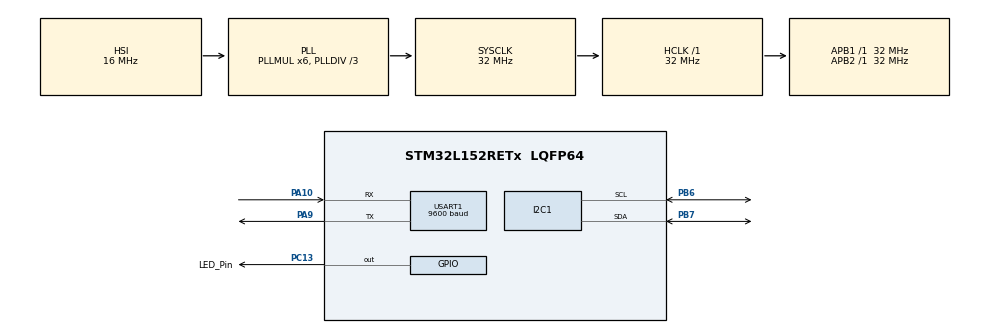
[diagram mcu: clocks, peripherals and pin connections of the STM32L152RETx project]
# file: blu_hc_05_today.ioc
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Mcu.Family=STM32L1
Mcu.Name=STM32L152RETx
Mcu.Package=LQFP64
NVIC.PriorityGroup=NVIC_PRIORITYGROUP_0
NVIC.TIM2_IRQn=true\:0\:0\:false\:false\:true\:true\:true
NVIC.USART1_IRQn=true\:0\:0\:false\:false\:true\:true\:true
PA10.GPIO_PuPd=GPIO_PULLUP
PA10.Mode=Asynchronous
PA10.Signal=USART1_RX
PA13.Mode=Serial_Wire
PA13.Signal=SYS_JTMS-SWDIO
PA14.Mode=Serial_Wire
PA14.Signal=SYS_JTCK-SWCLK
PA9.Mode=Asynchronous
PA9.Signal=USART1_TX
PB6.Mode=I2C
PB6.Signal=I2C1_SCL
PB7.Mode=I2C
PB7.Signal=I2C1_SDA
PC13-WKUP2.GPIO_Label=LED_Pin
PC13-WKUP2.GPIO_Speed=GPIO_SPEED_FREQ_MEDIUM
PC13-WKUP2.PinState=GPIO_PIN_SET
PC13-WKUP2.Signal=GPIO_Output
ProjectManager.HeapSize=0x200
ProjectManager.StackSize=0x400
ProjectManager.TargetToolchain=MDK-ARM V5.27
RCC.48MHZClocksFreq_Value=48000000
RCC.AHBFreq_Value=32000000
RCC.APB1Freq_Value=32000000
RCC.APB1TimFreq_Value=32000000
RCC.APB2Freq_Value=32000000
RCC.APB2TimFreq_Value=32000000
RCC.HCLKFreq_Value=32000000
RCC.HSE_VALUE=8000000
RCC.HSI_VALUE=16000000
RCC.LSE_VALUE=32768
RCC.MSI_VALUE=2097000
RCC.PLLDIV=RCC_PLL_DIV3
RCC.PLLMUL=RCC_PLL_MUL6
RCC.RTCClockSelectionVirtual=RCC_RTCCLKSOURCE_LSE
RCC.SYSCLKFreq_VALUE=32000000
RCC.SYSCLKSource=RCC_SYSCLKSOURCE_PLLCLK
RCC.USBOutput=48000000
RCC.VCOOutputFreq_Value=96000000
TIM2.Period=2000
TIM2.Prescaler=8000-1
TIM2.TIM_MasterOutputTrigger=TIM_TRGO_UPDATE
USART1.BaudRate=9600
USART1.VirtualMode=VM_ASYNC
VP_TIM2_VS_ClockSourceINT.Mode=Internal
board=NUCLEO-L152RE

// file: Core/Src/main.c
/* USER CODE BEGIN Header */
/**
  ******************************************************************************
  * @file           : main.c
  * @brief          : Main program body
  ******************************************************************************
  * @attention
  *
  * <h2><center>&copy; Copyright (c) 2021 STMicroelectronics.
  * All rights reserved.</center></h2>
  *
  * This software component is licensed by ST under BSD 3-Clause license,
  * the "License"; You may not use this file except in compliance with the
  * License. You may obtain a copy of the License at:
  *                        opensource.org/licenses/BSD-3-Clause
  *
  ******************************************************************************
  */
/* USER CODE END Header */
#include "main.h"
#include "usart.h"
#include "gpio.h"

/* USER CODE BEGIN Includes */
#include "string.h"
#include "stdio.h"
#include "MY_DHT22.h"

/* USER CODE END Includes */

I2C_HandleTypeDef hi2c1;

TIM_HandleTypeDef htim2;

UART_HandleTypeDef huart1;

/* USER CODE BEGIN PV */

int flag,j,a;
uint8_t rx;
char str1[60]= {0};
int len;
char buffer[100];
int i;

/* USER CODE END PV */

void SystemClock_Config(void);
static void MX_GPIO_Init(void);
static void MX_TIM2_Init(void);
static void MX_USART1_UART_Init(void);
static void MX_I2C1_Init(void);

/* USER CODE BEGIN 0 */
float TempC, Humidity;
char uartData[100];

void HAL_UART_RxCpltCallback( UART_HandleTypeDef *huart)
{
 if(huart == &huart1)
 {
  if(rx == 0x0A)
	{
	  flag = 1;
		str1[a] = rx;
		a++;
	}
 }

 HAL_UART_Receive_IT(&huart1, &rx, 1);
}

void HAL_TIM_PeriodElapsedCallback( TIM_HandleTypeDef *htim)
{
 if(htim == &htim2)
 {
	 sprintf(uartData, "\r\nTemp (C) =\t %.1f\r\nHumidity (%%) =\t %.1f%%\r\n", TempC, Humidity);
	 HAL_UART_Transmit(&huart1, (uint8_t *)uartData, strlen(uartData), 100);

	 sprintf(uartData, "\r\nTemp (C) =\t %.1f\r\nHumidity (%%) =\t %.1f%%\r\n", TempC, Humidity);
	 HAL_UART_Transmit(&huart1, (uint8_t *)uartData, strlen(uartData), 100);
	 /*sprintf(buffer, "%i Welcome\r\n", i);
	 i++;
	 len = strlen(buffer);
	 HAL_UART_Transmit(&huart1,buffer,len,100);*/
 }
}
/* USER CODE END 0 */

int main(void)
{

  /* MCU Configuration--------------------------------------------------------*/

  /* Reset of all peripherals, Initializes the Flash interface and the Systick. */
  HAL_Init();

  /* Configure the system clock */
  SystemClock_Config();

  /* Initialize all configured peripherals */
  MX_GPIO_Init();
  MX_TIM2_Init();
  MX_USART1_UART_Init();
  MX_I2C1_Init();
  /* USER CODE BEGIN 2 */
	DHT22_Init(GPIOA, GPIO_PIN_13);
  HAL_UART_Receive_IT(&huart1, &rx,1);
	HAL_TIM_Base_Start_IT(&htim2);
  /* USER CODE END 2 */

  /* Infinite loop */
  /* USER CODE BEGIN WHILE */
  while (1)
  {
		/*if(DHT22_GetTemp_Humidity(&TempC, &Humidity) == 1)
		{
			sprintf(uartData, "\r\nTemp (C) =\t %.1f\r\nHumidity (%%) =\t %.1f%%\r\n", TempC, Humidity);
			HAL_UART_Transmit(&huart1, (uint8_t *)uartData, strlen(uartData), 100);
		}*/
	/*	else
		{
			sprintf(uartData, "\r\nCRC Error!\r\n");
			HAL_UART_Transmit(&huart1, (uint8_t *)uartData, strlen(uartData), 100);
		}*/

		HAL_Delay(1000);

		/*if(flag==1)
		{
		  a =0;
			HAL_Delay(50);
			for(j = 0; j<60; j++)
			{
			 if((str1[j] == 'l') && (str1[j+1] == 'e') && (str1[j+2] == 'd') && (str1[j+3] == 'o') && (str1[j+4] == 'n') )
			 {
			  HAL_GPIO_WritePin(GPIOC, GPIO_PIN_13,0);
				 for(j = 0; j<60; j++)
				 {
				  str1[j]=0;
				 }
			 }
			}

		 for(j = 0; j<60; j++)
			{
			 if((str1[j] == 'l') && (str1[j+1] == 'e') && (str1[j+2] == 'd') && (str1[j+3] == 'o') && (str1[j+4] == 'f') && (str1[j+5] == 'f'))
			 {
			  HAL_GPIO_WritePin(GPIOC, GPIO_PIN_13,1);
				 for(j = 0; j<60; j++)
				 {
				  str1[j]=0;
				 }
			 }
			}
			flag=0;
		}*/
    /* USER CODE END WHILE */

  }
}

void SystemClock_Config(void)
{
  RCC_OscInitTypeDef RCC_OscInitStruct = {0};
  RCC_ClkInitTypeDef RCC_ClkInitStruct = {0};

  /** Configure the main internal regulator output voltage
  */
  __HAL_PWR_VOLTAGESCALING_CONFIG(PWR_REGULATOR_VOLTAGE_SCALE1);
  /** Initializes the RCC Oscillators according to the specified parameters
  * in the RCC_OscInitTypeDef structure.
  */
  RCC_OscInitStruct.OscillatorType = RCC_OSCILLATORTYPE_HSI;
  RCC_OscInitStruct.HSIState = RCC_HSI_ON;
  RCC_OscInitStruct.HSICalibrationValue = RCC_HSICALIBRATION_DEFAULT;
  RCC_OscInitStruct.PLL.PLLState = RCC_PLL_ON;
  RCC_OscInitStruct.PLL.PLLSource = RCC_PLLSOURCE_HSI;
  RCC_OscInitStruct.PLL.PLLMUL = RCC_PLL_MUL6;
  RCC_OscInitStruct.PLL.PLLDIV = RCC_PLL_DIV3;
  if (HAL_RCC_OscConfig(&RCC_OscInitStruct) != HAL_OK)
  {
    Error_Handler();
  }
  /** Initializes the CPU, AHB and APB buses clocks
  */
  RCC_ClkInitStruct.ClockType = RCC_CLOCKTYPE_HCLK|RCC_CLOCKTYPE_SYSCLK
                              |RCC_CLOCKTYPE_PCLK1|RCC_CLOCKTYPE_PCLK2;
  RCC_ClkInitStruct.SYSCLKSource = RCC_SYSCLKSOURCE_PLLCLK;
  RCC_ClkInitStruct.AHBCLKDivider = RCC_SYSCLK_DIV1;
  RCC_ClkInitStruct.APB1CLKDivider = RCC_HCLK_DIV1;
  RCC_ClkInitStruct.APB2CLKDivider = RCC_HCLK_DIV1;

  if (HAL_RCC_ClockConfig(&RCC_ClkInitStruct, FLASH_LATENCY_1) != HAL_OK)
  {
    Error_Handler();
  }
}

static void MX_I2C1_Init(void)
{

  hi2c1.Instance = I2C1;
  hi2c1.Init.ClockSpeed = 100000;
  hi2c1.Init.DutyCycle = I2C_DUTYCYCLE_2;
  hi2c1.Init.OwnAddress1 = 0;
  hi2c1.Init.AddressingMode = I2C_ADDRESSINGMODE_7BIT;
  hi2c1.Init.DualAddressMode = I2C_DUALADDRESS_DISABLE;
  hi2c1.Init.OwnAddress2 = 0;
  hi2c1.Init.GeneralCallMode = I2C_GENERALCALL_DISABLE;
  hi2c1.Init.NoStretchMode = I2C_NOSTRETCH_DISABLE;
  if (HAL_I2C_Init(&hi2c1) != HAL_OK)
  {
    Error_Handler();
  }

}

static void MX_TIM2_Init(void)
{

  TIM_ClockConfigTypeDef sClockSourceConfig = {0};
  TIM_MasterConfigTypeDef sMasterConfig = {0};

  htim2.Instance = TIM2;
  htim2.Init.Prescaler = 8000-1;
  htim2.Init.CounterMode = TIM_COUNTERMODE_UP;
  htim2.Init.Period = 2000;
  htim2.Init.ClockDivision = TIM_CLOCKDIVISION_DIV1;
  htim2.Init.AutoReloadPreload = TIM_AUTORELOAD_PRELOAD_DISABLE;
  if (HAL_TIM_Base_Init(&htim2) != HAL_OK)
  {
    Error_Handler();
  }
  sClockSourceConfig.ClockSource = TIM_CLOCKSOURCE_INTERNAL;
  if (HAL_TIM_ConfigClockSource(&htim2, &sClockSourceConfig) != HAL_OK)
  {
    Error_Handler();
  }
  sMasterConfig.MasterOutputTrigger = TIM_TRGO_UPDATE;
  sMasterConfig.MasterSlaveMode = TIM_MASTERSLAVEMODE_DISABLE;
  if (HAL_TIMEx_MasterConfigSynchronization(&htim2, &sMasterConfig) != HAL_OK)
  {
    Error_Handler();
  }

}

static void MX_USART1_UART_Init(void)
{

  huart1.Instance = USART1;
  huart1.Init.BaudRate = 9600;
  huart1.Init.WordLength = UART_WORDLENGTH_8B;
  huart1.Init.StopBits = UART_STOPBITS_1;
  huart1.Init.Parity = UART_PARITY_NONE;
  huart1.Init.Mode = UART_MODE_TX_RX;
  huart1.Init.HwFlowCtl = UART_HWCONTROL_NONE;
  huart1.Init.OverSampling = UART_OVERSAMPLING_16;
  if (HAL_UART_Init(&huart1) != HAL_OK)
  {
    Error_Handler();
  }

}

static void MX_GPIO_Init(void)
{
  GPIO_InitTypeDef GPIO_InitStruct = {0};

  /* GPIO Ports Clock Enable */
  __HAL_RCC_GPIOC_CLK_ENABLE();
  __HAL_RCC_GPIOA_CLK_ENABLE();
  __HAL_RCC_GPIOB_CLK_ENABLE();

  /*Configure GPIO pin Output Level */
  HAL_GPIO_WritePin(LED_Pin_GPIO_Port, LED_Pin_Pin, GPIO_PIN_SET);

  /*Configure GPIO pin : LED_Pin_Pin */
  GPIO_InitStruct.Pin = LED_Pin_Pin;
  GPIO_InitStruct.Mode = GPIO_MODE_OUTPUT_PP;
  GPIO_InitStruct.Pull = GPIO_NOPULL;
  GPIO_InitStruct.Speed = GPIO_SPEED_FREQ_MEDIUM;
  HAL_GPIO_Init(LED_Pin_GPIO_Port, &GPIO_InitStruct);

}

void Error_Handler(void)
{
  __disable_irq();
  while (1)
  {
  }
}

/************************ (C) COPYRIGHT STMicroelectronics *****END OF FILE****/
